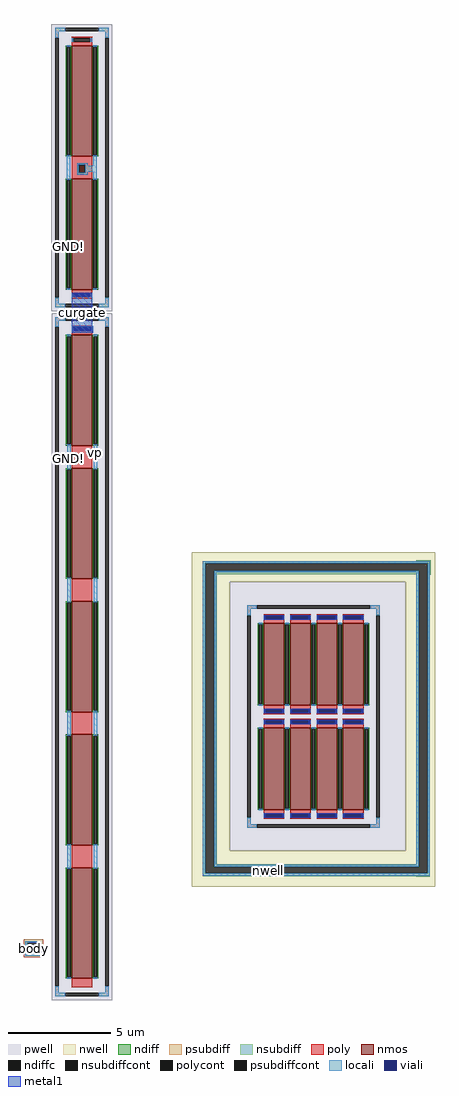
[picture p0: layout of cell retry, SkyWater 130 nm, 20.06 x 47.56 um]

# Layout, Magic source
magic
tech sky130A
magscale 1 2
<< nwell >>
rect 1312 4027 3686 4314
rect 1312 1405 1683 4027
rect 3399 1405 3686 4027
rect 1312 1052 3686 1405
<< pwell >>
rect 276 8021 387 8079
rect 1683 1405 3399 4027
<< psubdiff >>
rect -326 505 -137 541
rect -326 403 -290 505
rect -183 403 -137 505
rect -326 368 -137 403
<< nsubdiff >>
rect 3499 4226 3641 4235
rect 1418 4204 3641 4226
rect 1418 4097 1445 4204
rect 3613 4131 3641 4204
rect 1420 1185 1445 4097
rect 1533 4097 3524 4131
rect 1533 1270 1555 4097
rect 3499 1270 3524 4097
rect 1533 1250 3524 1270
rect 3612 4094 3641 4131
rect 3612 1186 3634 4094
rect 3610 1185 3634 1186
rect 1420 1153 3634 1185
rect 3499 1151 3634 1153
<< psubdiffcont >>
rect -290 403 -183 505
<< nsubdiffcont >>
rect 1445 4131 3613 4204
rect 1445 1250 1533 4131
rect 3524 1250 3612 4131
rect 1445 1186 3612 1250
rect 1445 1185 3610 1186
<< polycont >>
rect 211 8013 276 8087
<< locali >>
rect 196 8087 300 8103
rect 196 8013 211 8087
rect 276 8079 300 8087
rect 276 8021 387 8079
rect 276 8013 300 8021
rect 196 7994 300 8013
rect 1420 4224 1549 4227
rect 1420 4204 3631 4224
rect 1420 1185 1445 4204
rect 3613 4131 3631 4204
rect 1533 4117 3524 4131
rect 1533 1265 1549 4117
rect 3502 1265 3524 4117
rect 1533 1250 3524 1265
rect 3612 1186 3631 4131
rect 3610 1185 3631 1186
rect 1420 1164 3631 1185
rect 1432 1160 3631 1164
rect 1432 1159 3626 1160
rect -312 505 -162 523
rect -312 403 -290 505
rect -183 403 -162 505
rect -312 381 -162 403
<< metal1 >>
rect 143 6515 341 6841
rect 143 6451 351 6515
use sky130_fd_pr__nfet_01v8_F8A7VK  sky130_fd_pr__nfet_01v8_F8A7VK_0
transform 1 0 243 0 1 3295
box -296 -3346 296 3346
use sky130_fd_pr__nfet_01v8_NFC7VK  sky130_fd_pr__nfet_01v8_NFC7VK_0
transform 1 0 241 0 1 8062
box -296 -1399 296 1399
use sky130_fd_pr__nfet_01v8_TPE47J  sky130_fd_pr__nfet_01v8_TPE47J_0
transform 1 0 2499 0 1 2712
box -683 -1119 683 1119
<< labels >>
rlabel psubdiffcont -282 406 -188 502 1 body
rlabel metal1 190 6615 312 6681 1 curgate
rlabel nsubdiffcont 1985 1185 2132 1241 1 nwell
rlabel space 102 7251 125 7329 1 GND!
rlabel space 102 5196 125 5262 1 GND!
rlabel space 360 5262 387 5314 1 vp
<< end >>

# cell sky130_fd_pr__nfet_01v8_F8A7VK: kit device sky130_fd_pr__nfet_01v8, w 5.4 l 1 m 5 nf 1 diffcov 100 polycov 100 guard 1 glc 1 grc 1 gtc 1 gbc 1 tbcov 100 rlcov 100 topc 1 botc 1 poverlap 0 doverlap 1 lmin 0.15 wmin 0.42 compatible {sky130_fd_pr__nfet_01v8 sky130_fd_pr__nfet_01v8_lvt sky130_fd_bs_flash__special_sonosfet_star sky130_fd_pr__nfet_g5v0d10v5 sky130_fd_pr__nfet_05v0_nvt sky130_fd_pr__nfet_03v3_nvt} full_metal 1 viasrc 100 viadrn 100 viagate 100 viagb 0 viagr 0 viagl 0 viagt 0

# cell sky130_fd_pr__nfet_01v8_NFC7VK: kit device sky130_fd_pr__nfet_01v8, w 5.4 l 1 m 2 nf 1 diffcov 100 polycov 100 guard 1 glc 1 grc 1 gtc 1 gbc 1 tbcov 100 rlcov 100 topc 1 botc 1 poverlap 0 doverlap 1 lmin 0.15 wmin 0.42 compatible {sky130_fd_pr__nfet_01v8 sky130_fd_pr__nfet_01v8_lvt sky130_fd_bs_flash__special_sonosfet_star sky130_fd_pr__nfet_g5v0d10v5 sky130_fd_pr__nfet_05v0_nvt sky130_fd_pr__nfet_03v3_nvt} full_metal 1 viasrc 100 viadrn 100 viagate 100 viagb 0 viagr 0 viagl 0 viagt 0

# cell sky130_fd_pr__nfet_01v8_TPE47J: kit device sky130_fd_pr__nfet_01v8, w 4 l 1 m 2 nf 4 diffcov 100 polycov 100 guard 1 glc 1 grc 1 gtc 1 gbc 1 tbcov 100 rlcov 100 topc 1 botc 1 poverlap 0 doverlap 1 lmin 0.15 wmin 0.42 compatible {sky130_fd_pr__nfet_01v8 sky130_fd_pr__nfet_01v8_lvt sky130_fd_bs_flash__special_sonosfet_star sky130_fd_pr__nfet_g5v0d10v5 sky130_fd_pr__nfet_05v0_nvt sky130_fd_pr__nfet_03v3_nvt} full_metal 1 viasrc 100 viadrn 100 viagate 100 viagb 0 viagr 0 viagl 0 viagt 0
